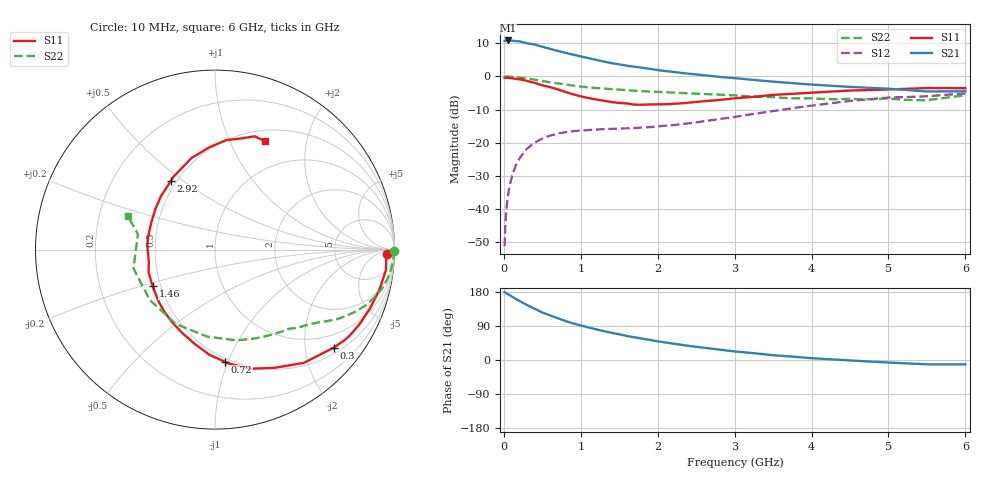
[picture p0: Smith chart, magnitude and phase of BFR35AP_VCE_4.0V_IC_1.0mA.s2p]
! Infineon Technologies  Discrete & RF Semiconductors
! BFR35AP
! VCE =  4.0 V,  IC =  1.0 mA
! Common Emitter S-Parameters:  Nov 2015
# GHz  S  MA  R  50
!  f  S11  S21  S12  S22
! GHz  MAG  ANG  MAG  ANG  MAG  ANG  MAG  ANG
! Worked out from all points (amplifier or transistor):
!   210 points, 10 MHz to 6 GHz, reference 50 ohm
!   highest |S21| = 10.9 dB at 50 MHz (marker M1)
!   |S21| within 3 dB of that: start of sweep to 674.6 MHz
!   unconditionally stable (mu >= 1): 1.441 GHz to 3.986 GHz; 5.069 GHz to end of sweep
!   at 185 MHz: K = 0.15, MSG = 18.1 dB, |S12| = -25.6 dB
!   at 1.52 GHz: K = 1.04, MAG = 8.5 dB, |S12| = -15.8 dB
!   at 6 GHz: K = 1.02, MAG = -0.5 dB, |S12| = -5.1 dB
!   S11 on the Smith chart (normalised r, x): 10 MHz: 35, -20; 300 MHz: 0.64, -2.64; 720 MHz: 0.47, -0.97; 1.46 GHz: 0.45, -0.22; 2.92 GHz: 0.47, +0.45; 6 GHz: 0.63, +1.37
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0.01  0.958 -1.4  3.464 179.2  0.0027 89.0  0.9999 -0.5
0.015  0.9568 -2.1  3.449 178.4  0.0042 86.8  0.9976 -0.8
0.025  0.956 -3.5  3.446 176.9  0.0072 85.7  0.9954 -1.4
0.05  0.9592 -6.9  3.511 174.1  0.0146 85.8  0.9957 -2.9
0.095  0.9437 -13.0  3.485 169.1  0.0276 82.0  0.9894 -5.5
0.145  0.9256 -19.8  3.43 162.4  0.0418 77.2  0.98 -8.3
0.2  0.9068 -27.1  3.408 156.1  0.0564 73.5  0.9668 -11.3
0.3  0.8578 -39.6  3.188 145.0  0.0803 66.0  0.9334 -16.1
0.4  0.8019 -51.9  3.054 135.4  0.0995 59.2  0.8936 -20.5
0.5  0.7381 -63.1  2.823 125.4  0.1148 53.4  0.8522 -24.1
0.72  0.6274 -85.0  2.411 108.8  0.138 44.2  0.7804 -29.8
0.88  0.5462 -100.2  2.167 97.9  0.1479 39.7  0.7328 -33.1
1.02  0.4942 -112.6  1.988 90.0  0.1525 37.0  0.6996 -35.6
1.2  0.4491 -128.2  1.785 80.7  0.1572 34.6  0.6693 -38.7
1.46  0.4022 -149.5  1.553 69.6  0.1618 33.5  0.6365 -42.7
1.7  0.3746 -169.7  1.408 59.9  0.1656 35.0  0.6071 -46.4
2.02  0.3793 168.2  1.241 48.8  0.1765 37.4  0.5834 -52.1
2.92  0.4561 122.5  0.961 24.5  0.2369 43.7  0.5221 -74.5
3.1  0.4762 116.3  0.92 20.8  0.2551 43.5  0.5081 -80.4
4.1  0.5783 91.2  0.742 3.6  0.3746 36.6  0.4597 -122.5
5.1  0.6413 75.7  0.641 -7.7  0.4834 21.4  0.4541 -171.5
6  0.6656 65.0  0.597 -11.5  0.5541 9.2  0.5204 158.8
